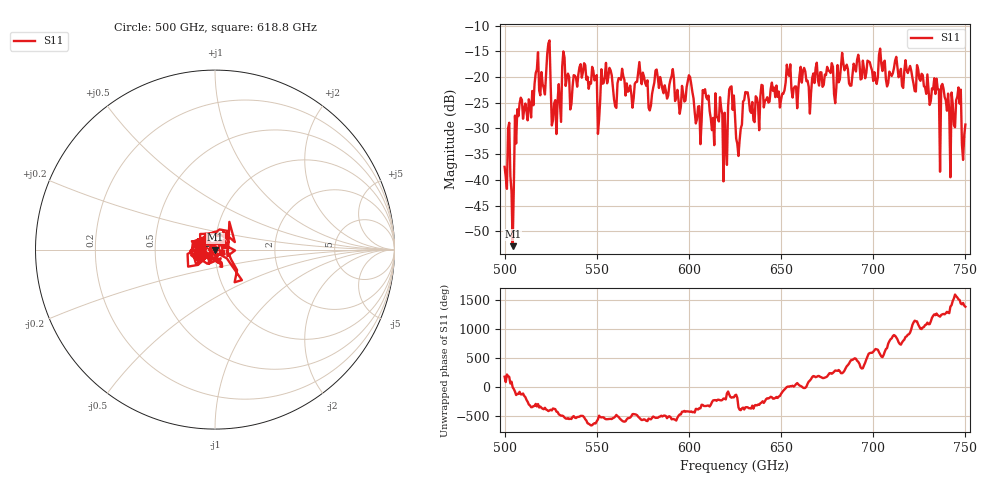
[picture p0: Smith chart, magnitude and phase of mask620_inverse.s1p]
!Created with skrf (http://scikit-rf.org).
# GHz S MA R 50.0
!freq magS11 angS11
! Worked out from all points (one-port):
!   401 points, 500 GHz to 750 GHz, reference 50 ohm
!   lowest |S11| = -52.9 dB at 504.4 GHz (marker M1), VSWR 1.00, Z = 50.2 - j0.0295 ohm
!   |S11| at or under -10 dB: start of sweep to end of sweep
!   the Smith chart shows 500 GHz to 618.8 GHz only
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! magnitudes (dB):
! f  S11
! 500 GHz  -37.5
! 504.4 GHz  -52.9
! 508.1 GHz  -25.1
! 523.8 GHz  -13.5
! 526.9 GHz  -25.1
! 531.2 GHz  -17.9
! 548.8 GHz  -20.7
! 550.6 GHz  -31.1
! 562.5 GHz  -20.3
! 573.8 GHz  -19.7
! 579.4 GHz  -25.6
! 590.6 GHz  -19.8
! 593.8 GHz  -22.5
! 600.6 GHz  -20.0
! 605 GHz  -25.7
! 608.8 GHz  -22.4
! 619.4 GHz  -27.0
! 622.5 GHz  -22.0
! 625 GHz  -27.6
! 626.9 GHz  -35.4
! 630.6 GHz  -22.9
! 656.2 GHz  -24.0
! 687.5 GHz  -21.7
! 718.8 GHz  -19.2
! 738.1 GHz  -22.3
! 743.1 GHz  -25.2
! 746.2 GHz  -22.0
! 750 GHz  -29.3
